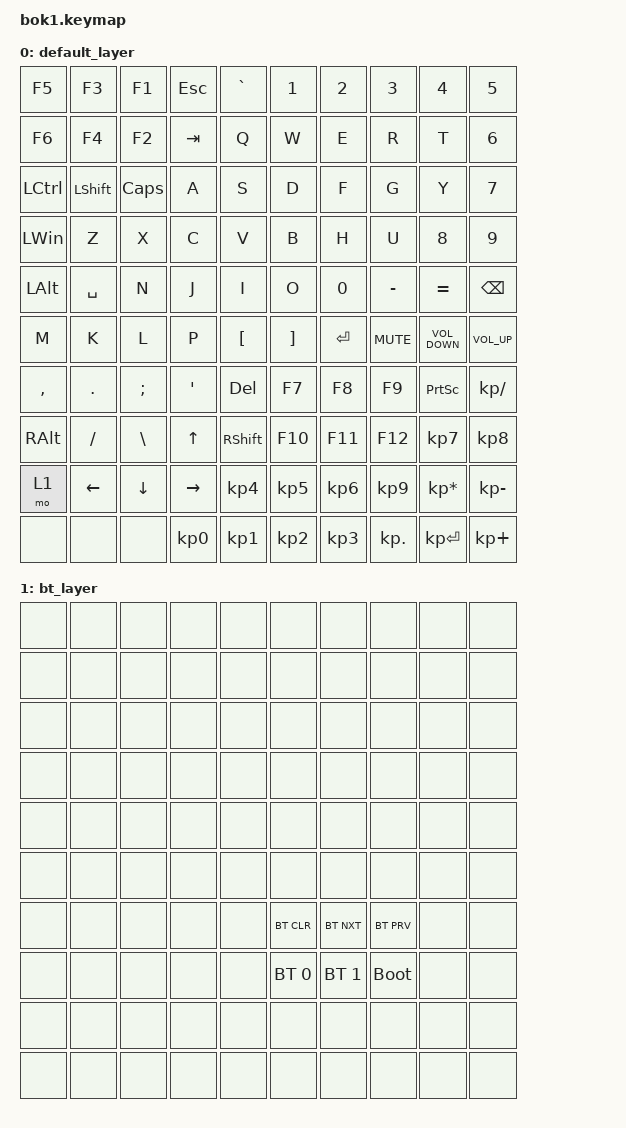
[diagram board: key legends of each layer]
#include <behaviors.dtsi>
#include <dt-bindings/zmk/keys.h>
#include <dt-bindings/zmk/bt.h>


/ {
    keymap {
        compatible = "zmk,keymap";


        default_layer {
            bindings = <
                &kp F5     &kp F3      &kp F1    &kp ESC    &kp GRAVE   &kp N1     &kp N2     &kp N3      &kp N4             &kp N5
                &kp F6     &kp F4      &kp F2    &kp TAB    &kp Q       &kp W      &kp E      &kp R       &kp T              &kp N6
                &kp LCTRL  &kp LSHIFT  &kp CAPS  &kp A      &kp S       &kp D      &kp F      &kp G       &kp Y              &kp N7
                &kp LWIN   &kp Z       &kp X     &kp C      &kp V       &kp B      &kp H      &kp U       &kp N8             &kp N9
                &kp LALT   &kp SPACE   &kp N     &kp J      &kp I       &kp O      &kp N0     &kp MINUS   &kp EQUAL          &kp BACKSPACE
                &kp M      &kp K       &kp L     &kp P      &kp LBKT    &kp RBKT   &kp ENTER  &kp C_MUTE  &kp C_VOLUME_DOWN  &kp C_VOLUME_UP
                &kp COMMA  &kp DOT     &kp SEMI  &kp APOS   &kp DEL     &kp F7     &kp F8     &kp F9      &kp PSCRN          &kp KP_DIVIDE
                &kp RALT   &kp SLASH   &kp BSLH  &kp UP     &kp RSHIFT  &kp F10    &kp F11    &kp F12     &kp KP_N7          &kp KP_N8
                &mo 1      &kp LEFT    &kp DOWN  &kp RIGHT  &kp KP_N4   &kp KP_N5  &kp KP_N6  &kp KP_N9   &kp KP_MULTIPLY    &kp KP_MINUS
                &none      &none       &none     &kp KP_N0  &kp KP_N1   &kp KP_N2  &kp KP_N3  &kp KP_DOT  &kp KP_ENTER       &kp KP_PLUS

            >;
        };


        bt_layer {
            bindings = <
                &none &none &none &none &none &none        &none        &none        &none &none
                &none &none &none &none &none &none        &none        &none        &none &none
                &none &none &none &none &none &none        &none        &none        &none &none
                &none &none &none &none &none &none        &none        &none        &none &none
                &none &none &none &none &none &none        &none        &none        &none &none
                &none &none &none &none &none &none        &none        &none        &none &none
                &none &none &none &none &none &bt BT_CLR   &bt BT_NXT &bt BT_PRV &none &none
                &none &none &none &none &none &bt BT_SEL 0 &bt BT_SEL 1  &bootloader        &none &none
                &none &none &none &none &none &none        &none        &none        &none &none
                &none &none &none &none &none &none        &none        &none        &none &none

            >;
        };
    };
};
